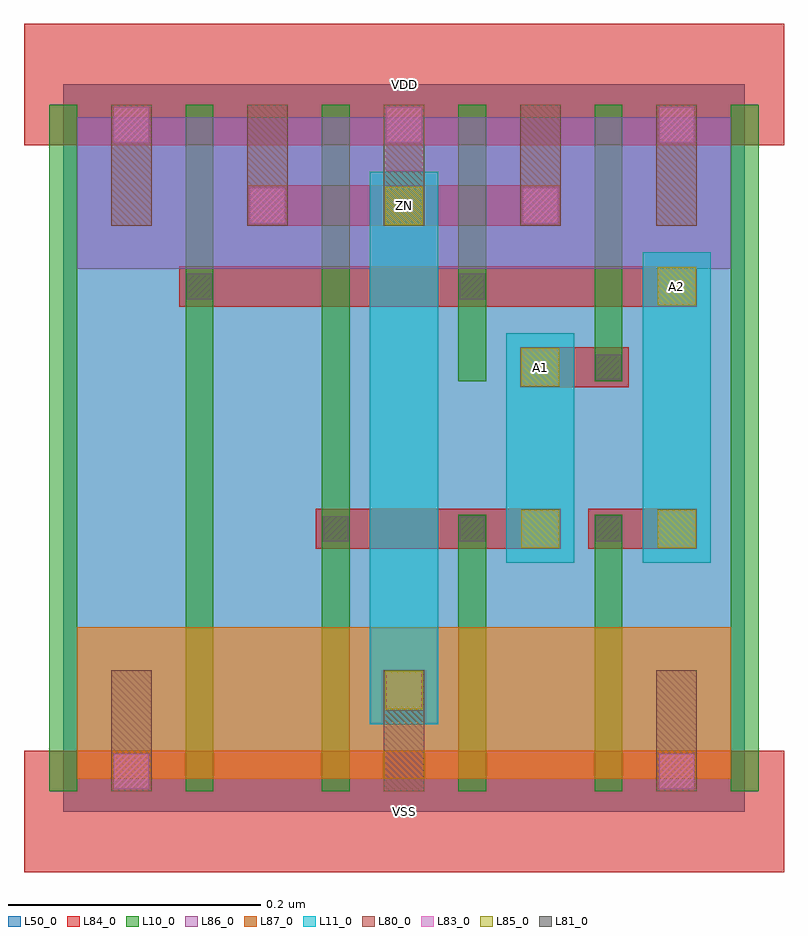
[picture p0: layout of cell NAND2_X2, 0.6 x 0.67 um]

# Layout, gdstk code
import gdstk
lib = gdstk.Library(unit=1e-6, precision=1e-09)
def R(c, l, rs):  # rectangles x0, y0, x1, y1
    for r in rs: c.add(gdstk.rectangle(r[:2], r[2:], *l))
def A(c, l, x, y, w, h, nx, ny, dx, dy):  # array of equal rectangles
    R(c, l, [(x+i*dx, y+j*dy, x+i*dx+w, y+j*dy+h) for i in range(nx) for j in range(ny)])
L10_0 = (10, 0)
L11_0 = (11, 0)
L50_0 = (50, 0)
L80_0 = (80, 0)
L81_0 = (81, 0)
L83_0 = (83, 0)
L84_0 = (84, 0)
L85_0 = (85, 0)
L86_0 = (86, 0)
L87_0 = (87, 0)

nand2_x2 = lib.new_cell('NAND2_X2')
A(nand2_x2, L10_0, -0.011, 0.016, 0.022, 0.544, 3, 1, 0.108, 0)
R(nand2_x2, L10_0, [(0.313,0.016,0.335,0.235), (0.421,0.016,0.443,0.235), (0.529,0.016,0.551,0.56), (0.313,0.341,0.335,0.56), (0.421,0.341,0.443,0.56)])
R(nand2_x2, L11_0, [(0.243,0.069,0.297,0.507), (0.351,0.197,0.405,0.379), (0.459,0.197,0.513,0.443)])
R(nand2_x2, L50_0, [(0,0,0.54,0.576)])
A(nand2_x2, L80_0, 0.038, 0.016, 0.032, 0.096, 3, 1, 0.216, 0)
A(nand2_x2, L80_0, 0.038, 0.464, 0.032, 0.096, 5, 1, 0.108, 0)
A(nand2_x2, L81_0, 0.206, 0.214, 0.02, 0.02, 3, 1, 0.108, 0)
R(nand2_x2, L81_0, [(0.422,0.342,0.442,0.362), (0.098,0.406,0.118,0.426), (0.314,0.406,0.334,0.426)])
A(nand2_x2, L83_0, 0.04, 0.53, 0.028, 0.028, 3, 1, 0.216, 0)
R(nand2_x2, L83_0, [(0.04,0.018,0.068,0.046), (0.472,0.018,0.5,0.046), (0.256,0.082,0.284,0.11), (0.148,0.466,0.176,0.494), (0.364,0.466,0.392,0.494)])
R(nand2_x2, L84_0, [(-0.031,-0.048,0.571,0.048), (0.254,0.08,0.286,0.112), (0.2,0.208,0.394,0.24), (0.416,0.208,0.502,0.24), (0.362,0.336,0.448,0.368), (0.092,0.4,0.502,0.432), (0.146,0.464,0.394,0.496), (-0.031,0.528,0.571,0.624)])
R(nand2_x2, L85_0, [(0.255,0.081,0.285,0.111), (0.363,0.209,0.393,0.239), (0.471,0.209,0.501,0.239), (0.363,0.337,0.393,0.367), (0.471,0.401,0.501,0.431), (0.255,0.465,0.285,0.495)])
R(nand2_x2, L86_0, [(0.011,0.43,0.529,0.55)])
R(nand2_x2, L87_0, [(0.011,0.026,0.529,0.146)])
nand2_x2.add(gdstk.Label('VDD', (0.27,0.576), layer=88, texttype=0))
nand2_x2.add(gdstk.Label('VSS', (0.27,0), layer=88, texttype=0))
nand2_x2.add(gdstk.Label('ZN', (0.27,0.48), layer=31, texttype=0))
nand2_x2.add(gdstk.Label('A1', (0.378,0.352), layer=31, texttype=0))
nand2_x2.add(gdstk.Label('A2', (0.486,0.416), layer=31, texttype=0))

lib.write_gds('NAND2_X2.gds')
